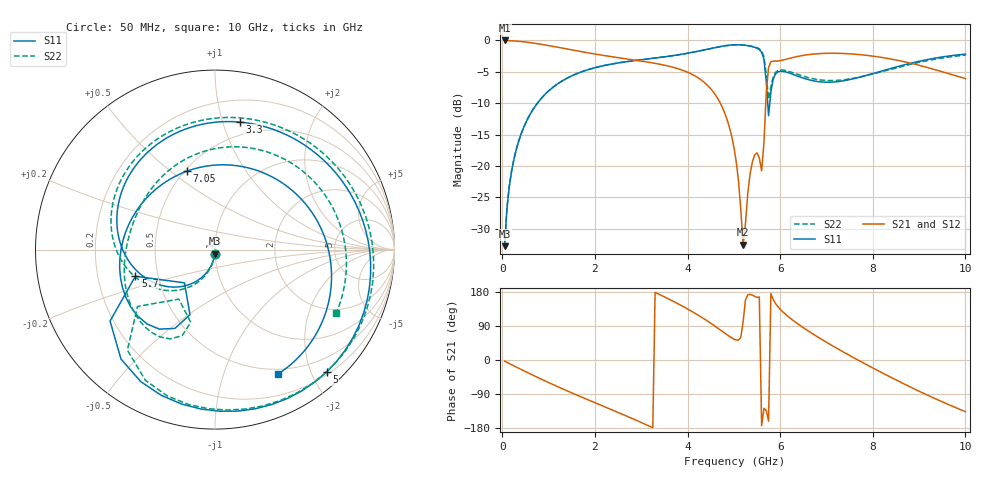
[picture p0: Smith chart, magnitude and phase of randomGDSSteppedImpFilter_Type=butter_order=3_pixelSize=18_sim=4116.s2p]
! freq	dB(S11)	phase(S11)	dB(S12)	phase(S12)
!  dB(S21)	phase(S21)	dB(S22)	phase(S22)
!S-par simulation data
#  GHz  S  DB  R 50
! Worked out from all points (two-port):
!   200 points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, 50 MHz to 10 GHz, reference 50 ohm
!   highest |S21| = -0.01 dB at 50 MHz (marker M1); lowest = -32.6 dB at 5.2 GHz (marker M2)
!   |S21| within 3 dB of the highest: start of sweep to 2.737 GHz; 6.125 GHz to 8.422 GHz (2.297 GHz wide, 31.6 % of centre)
!   lowest |S11| = -32.8 dB at 50 MHz (marker M3), VSWR 1.05, Z = 49.8 - j2.28 ohm
!   |S11| at or under -10 dB: start of sweep to 759 MHz; 5.732 GHz to 5.776 GHz (44.78 MHz wide, 0.778 % of centre)
!   |S22| runs from -32.8 to -0.7 dB; largest |S21 - S12| = 0
!   S11 on the Smith chart (normalised r, x): 50 MHz: 1.00, -0.05; 3.3 GHz: 0.38, +1.14; 5 GHz: 0.24, -2.24; 5.7 GHz: 0.37, -0.14; 7.05 GHz: 0.51, +0.57; 10 GHz: 0.44, -1.53
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0.05  -32.80 -93.3  -0.01 -3.1  -0.01 -3.1  -32.80 -93.0
0.2  -20.87 -103.4  -0.05 -12.4  -0.05 -12.4  -20.86 -102.1
0.5  -13.23 -122.6  -0.25 -30.6  -0.25 -30.6  -13.23 -119.5
1.75  -4.91 164.2  -1.85 -99.8  -1.85 -99.8  -4.90 174.9
3.3  -2.81 79.1  -3.66 178.4  -3.66 178.4  -2.81 96.5
3.4  -2.72 73.3  -3.80 172.6  -3.80 172.6  -2.72 90.7
4.2  -1.75 21.9  -5.83 120.5  -5.83 120.5  -1.78 37.2
5  -0.70 -47.7  -16.97 55.2  -16.97 55.2  -0.72 -37.9
5.05  -0.69 -53.0  -19.26 52.7  -19.26 52.7  -0.70 -43.5
5.2  -0.73 -69.9  -32.55 100.4  -32.55 100.4  -0.73 -60.8
5.4  -1.00 -95.0  -19.38 171.1  -19.38 171.1  -0.95 -85.5
5.6  -1.89 -130.6  -20.79 -173.6  -20.79 -173.6  -1.67 -118.1
5.7  -6.60 -161.5  -8.28 -133.0  -8.28 -133.0  -5.43 -143.7
5.75  -11.99 -132.6  -4.33 -161.5  -4.33 -161.5  -9.32 -126.2
5.8  -8.21 -111.0  -3.40 175.0  -3.40 175.0  -7.39 -108.4
6.05  -4.92 -145.8  -3.15 127.9  -3.15 127.9  -4.71 -132.4
6.7  -6.42 143.4  -2.19 69.2  -2.19 69.2  -6.09 -180.0
7.05  -6.67 109.7  -2.05 43.2  -2.05 43.2  -6.40 159.7
7.65  -5.99 60.3  -2.22 1.8  -2.22 1.8  -5.94 124.5
8.35  -4.55 15.2  -2.91 -43.1  -2.91 -43.1  -4.68 79.1
9.25  -2.95 -30.6  -4.46 -96.6  -4.46 -96.6  -3.13 18.7
10  -2.19 -63.3  -6.09 -136.3  -6.09 -136.3  -2.36 -27.5
